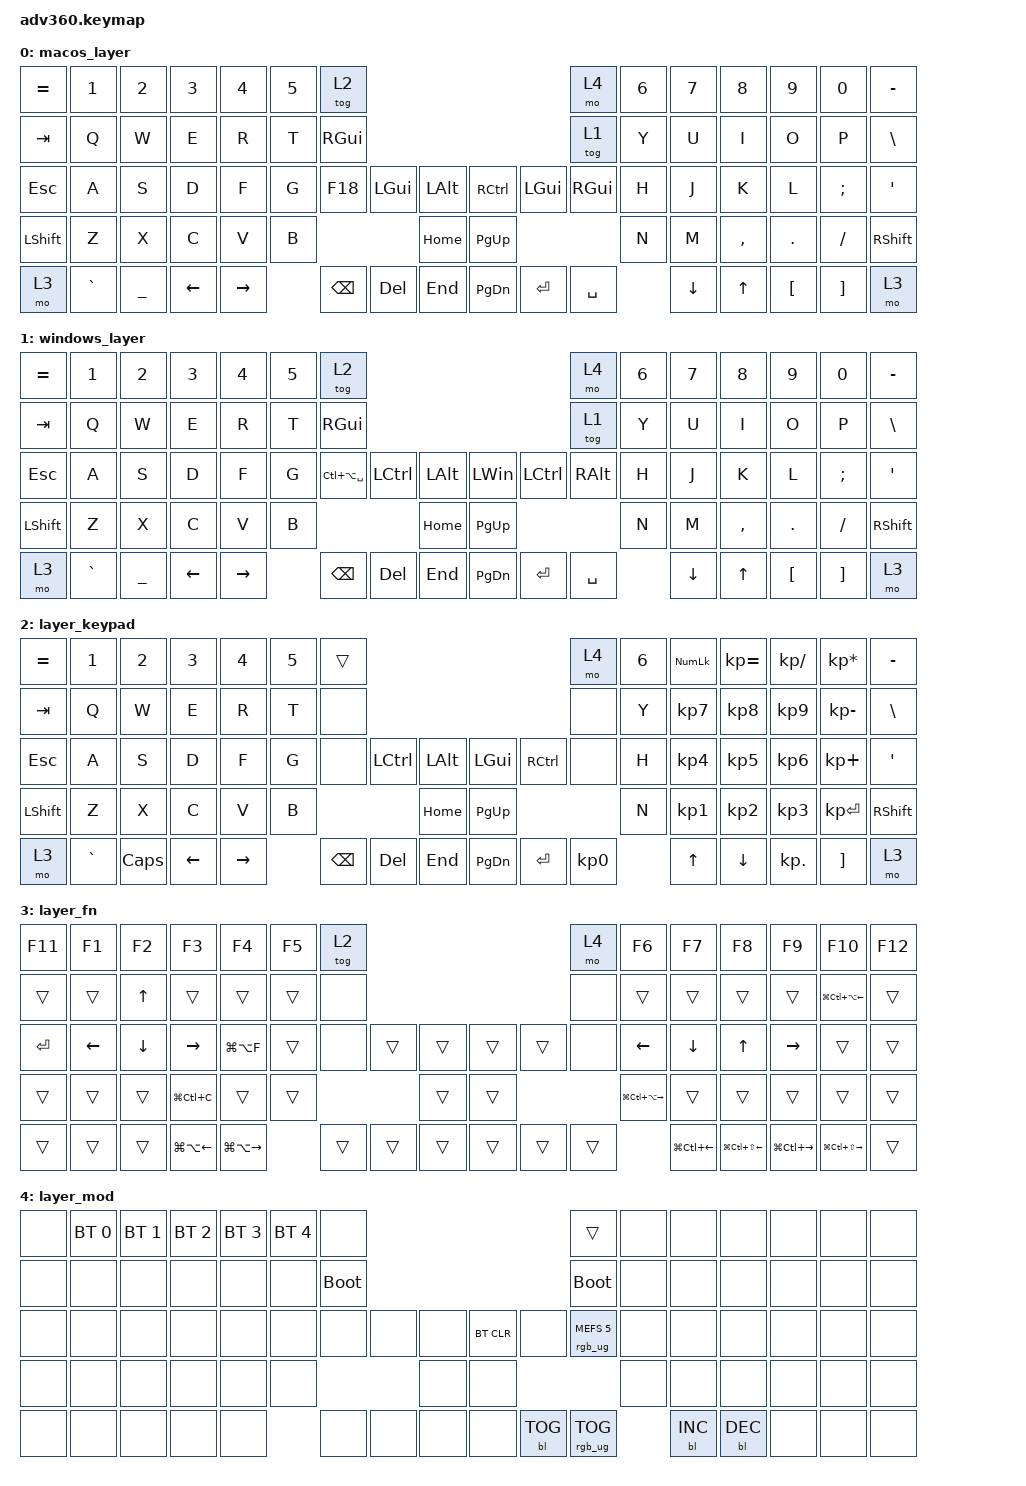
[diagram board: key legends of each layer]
/*
 * Copyright (c) 2020 The ZMK Contributors
 *
 * SPDX-License-Identifier: MIT
 */
/* THIS FILE WAS GENERATED!
 *
 * This file was generated automatically. You may or may not want to
 * edit it directly.
 */

#include <behaviors.dtsi>
#include <dt-bindings/zmk/backlight.h>
#include <dt-bindings/zmk/bt.h>
#include <dt-bindings/zmk/keys.h>
#include <dt-bindings/zmk/rgb.h>

/ {
    behaviors {
        #include "macros.dtsi"

        hm: homerow_mods {
            compatible = "zmk,behavior-hold-tap";
            label = "HOMEROW_MODS";
            #binding-cells = <2>;
            tapping-term-ms = <200>;
            quick_tap_ms = <175>;
            flavor = "tap-preferred";
            bindings = <&kp>, <&kp>;
        };
    };

    keymap {
        compatible = "zmk,keymap";

        macos_layer {
            bindings = <
&kp EQUAL  &kp N1     &kp N2          &kp N3    &kp N4     &kp N5  &tog 2                                                       &mo 4      &kp N6  &kp N7          &kp N8        &kp N9    &kp N0         &kp MINUS
&kp TAB    &kp Q      &kp W           &kp E     &kp R      &kp T   &kp RIGHT_GUI                                                &tog 1     &kp Y   &kp U           &kp I         &kp O     &kp P          &kp BSLH
&kp ESC    &kp A      &kp S           &kp D     &kp F      &kp G   &kp F18        &kp LGUI  &kp LALT      &kp RCTRL  &kp LGUI   &kp RGUI   &kp H   &kp J           &kp K         &kp L     &kp SEMICOLON  &kp SQT
&kp LSHFT  &kp Z      &kp X           &kp C     &kp V      &kp B                            &kp HOME      &kp PG_UP                        &kp N   &kp M           &kp COMMA     &kp DOT   &kp FSLH       &kp RSHFT
&mo 3      &kp GRAVE  &kp UNDERSCORE  &kp LEFT  &kp RIGHT          &kp BSPC       &kp DEL   &kp END       &kp PG_DN  &kp ENTER  &kp SPACE          &kp DOWN_ARROW  &kp UP_ARROW  &kp LBKT  &kp RBKT       &mo 3
            >;
        };

        windows_layer {
            bindings = <
&kp EQUAL  &kp N1     &kp N2          &kp N3    &kp N4     &kp N5  &tog 2                                                                                 &mo 4          &kp N6  &kp N7          &kp N8        &kp N9    &kp N0         &kp MINUS
&kp TAB    &kp Q      &kp W           &kp E     &kp R      &kp T   &kp RIGHT_GUI                                                                          &tog 1         &kp Y   &kp U           &kp I         &kp O     &kp P          &kp BSLH
&kp ESC    &kp A      &kp S           &kp D     &kp F      &kp G   &kp LC(LA(SPACE))  &kp LEFT_CONTROL  &kp LEFT_ALT      &kp LEFT_WIN  &kp LEFT_CONTROL  &kp RIGHT_ALT  &kp H   &kp J           &kp K         &kp L     &kp SEMICOLON  &kp SQT
&kp LSHFT  &kp Z      &kp X           &kp C     &kp V      &kp B                                        &kp HOME          &kp PG_UP                                      &kp N   &kp M           &kp COMMA     &kp DOT   &kp FSLH       &kp RSHFT
&mo 3      &kp GRAVE  &kp UNDERSCORE  &kp LEFT  &kp RIGHT          &kp BSPC           &kp DEL           &kp END           &kp PG_DN     &kp ENTER         &kp SPACE              &kp DOWN_ARROW  &kp UP_ARROW  &kp LBKT  &kp RBKT       &mo 3
            >;
        };

        layer_keypad {
            bindings = <
&kp EQUAL  &kp N1     &kp N2    &kp N3    &kp N4     &kp N5  &trans                                                   &mo 4      &kp N6  &kp KP_NUM  &kp KP_EQUAL  &kp KP_DIVIDE  &kp KP_MULTIPLY  &kp MINUS
&kp TAB    &kp Q      &kp W     &kp E     &kp R      &kp T   &none                                                    &none      &kp Y   &kp KP_N7   &kp KP_N8     &kp KP_N9      &kp KP_MINUS     &kp BSLH
&kp ESC    &kp A      &kp S     &kp D     &kp F      &kp G   &none     &kp LCTRL  &kp LALT      &kp LGUI   &kp RCTRL  &none      &kp H   &kp KP_N4   &kp KP_N5     &kp KP_N6      &kp KP_PLUS      &kp SQT
&kp LSHFT  &kp Z      &kp X     &kp C     &kp V      &kp B                        &kp HOME      &kp PG_UP                        &kp N   &kp KP_N1   &kp KP_N2     &kp KP_N3      &kp KP_ENTER     &kp RSHFT
&mo 3      &kp GRAVE  &kp CAPS  &kp LEFT  &kp RIGHT          &kp BSPC  &kp DEL    &kp END       &kp PG_DN  &kp ENTER  &kp KP_N0          &kp UP      &kp DOWN      &kp KP_DOT     &kp RBKT         &mo 3
            >;
        };

        layer_fn {
            bindings = <
&kp F11    &kp F1          &kp F2          &kp F3                  &kp F4             &kp F5  &tog 2                                      &mo 4   &kp F6                 &kp F7                  &kp F8                &kp F9             &kp F10                      &kp F12
&trans     &trans          &kp UP_ARROW    &trans                  &trans             &trans  &none                                       &none   &trans                 &trans                  &trans                &trans             &kp LG(LC(LA(LEFT_ARROW)))   &trans
&kp ENTER  &kp LEFT_ARROW  &kp DOWN_ARROW  &kp RIGHT_ARROW         &kp LG(LA(F))      &trans  &none   &trans  &trans      &trans  &trans  &none   &kp LEFT_ARROW         &kp DOWN_ARROW          &kp UP_ARROW          &kp RIGHT_ARROW    &trans                       &trans
&trans     &trans          &trans          &kp LG(LC(C))           &trans             &trans                  &trans      &trans                  &kp LG(LC(LA(RIGHT)))  &trans                  &trans                &trans             &trans                       &trans
&trans     &trans          &trans          &kp LG(LA(LEFT_ARROW))  &kp LG(LA(RIGHT))          &trans  &trans  &trans      &trans  &trans  &trans                         &kp LG(LC(LEFT_ARROW))  &kp LG(LC(LS(LEFT)))  &kp LG(LC(RIGHT))  &kp LG(LC(LS(RIGHT_ARROW)))  &trans
            >;
        };

        layer_mod {
            bindings = <
&none  &bt BT_SEL 0  &bt BT_SEL 1  &bt BT_SEL 2  &bt BT_SEL 3  &bt BT_SEL 4  &none                                                  &trans                  &none  &none       &none       &none  &none  &none
&none  &none         &none         &none         &none         &none         &bootloader                                            &bootloader             &none  &none       &none       &none  &none  &none
&none  &none         &none         &none         &none         &none         &none        &none  &none      &bt BT_CLR  &none       &rgb_ug RGB_MEFS_CMD 5  &none  &none       &none       &none  &none  &none
&none  &none         &none         &none         &none         &none                             &none      &none                                           &none  &none       &none       &none  &none  &none
&none  &none         &none         &none         &none                       &none        &none  &none      &none       &bl BL_TOG  &rgb_ug RGB_TOG                &bl BL_INC  &bl BL_DEC  &none  &none  &none
            >;
        };
    };
};
